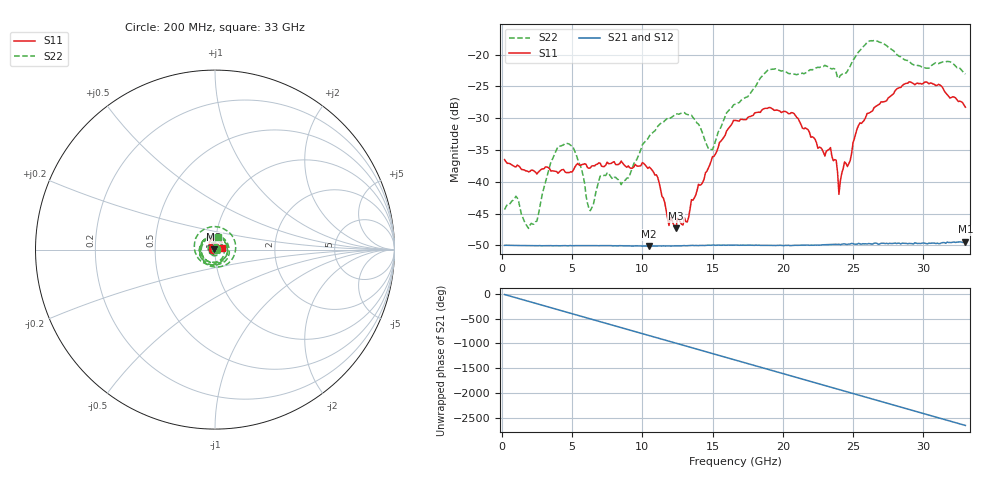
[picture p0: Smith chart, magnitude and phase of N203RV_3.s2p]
# GHZ S RI R 50
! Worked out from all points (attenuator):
!   329 points, 200 MHz to 33 GHz, reference 50 ohm
!   highest |S21| = -49.40 dB at 33 GHz (marker M1); lowest = -50.1 dB at 10.5 GHz (marker M2)
!   lowest |S11| = -47.3 dB at 12.4 GHz (marker M3), VSWR 1.01, Z = 49.6 + j0.101 ohm
!   |S11| at or under -10 dB: start of sweep to end of sweep
!   |S22| runs from -47.3 to -17.8 dB; largest |S21 - S12| = 7.2e-05
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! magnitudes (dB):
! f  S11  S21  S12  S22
! 200 MHz  -36.5  -50.0  -50.0  -44.4
! 1 GHz  -37.7  -50.0  -50.0  -42.3
! 2.5 GHz  -38.8  -50.0  -50.0  -46.2
! 4 GHz  -38.6  -50.0  -50.0  -34.5
! 5.7 GHz  -37.3  -50.0  -50.0  -38.2
! 6.3 GHz  -37.8  -50.0  -50.0  -44.5
! 7 GHz  -37.1  -50.0  -50.0  -39.1
! 8.5 GHz  -36.7  -50.0  -50.0  -40.4
! 10.5 GHz  -37.7  -50.1  -50.1  -32.8
! 11.2 GHz  -40.1  -50.1  -50.1  -31.1
! 12.4 GHz  -47.3  -50.1  -50.1  -29.3
! 15 GHz  -36.0  -49.9  -49.9  -34.9
! 16.6 GHz  -30.4  -49.9  -49.9  -27.8
! 19.1 GHz  -28.3  -50.0  -50.0  -22.3
! 22.1 GHz  -32.9  -50.0  -49.9  -22.4
! 23.4 GHz  -34.6  -49.9  -49.8  -22.2
! 23.8 GHz  -36.6  -49.8  -49.8  -22.8
! 24 GHz  -42.0  -49.8  -49.8  -23.7
! 25.4 GHz  -31.1  -49.7  -49.7  -19.6
! 27.6 GHz  -26.7  -49.7  -49.7  -19.0
! 30.2 GHz  -24.3  -49.7  -49.6  -22.1
! 33 GHz  -28.3  -49.4  -49.4  -23.1
